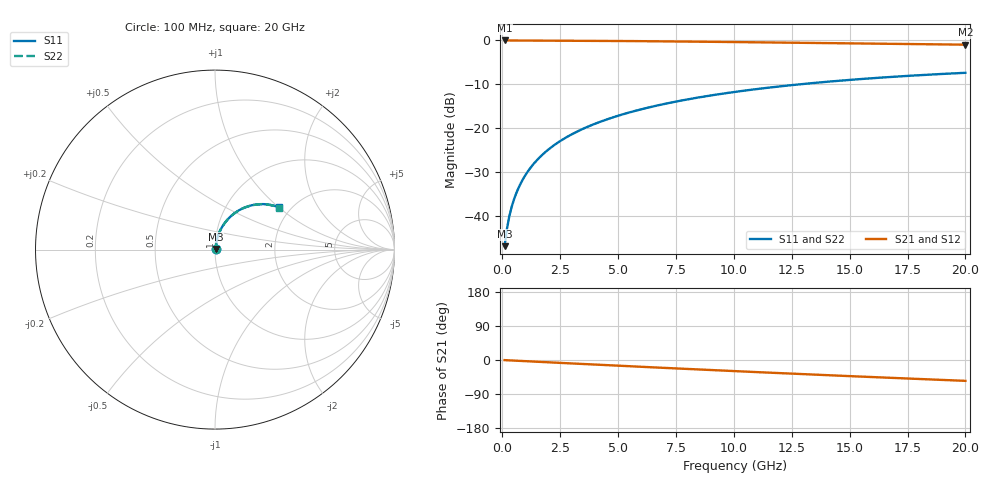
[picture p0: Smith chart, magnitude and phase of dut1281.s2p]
! Touchstone file exported from HFSS 2026.1.0
!  File:  C:/ffzhzh/LocalFiles/Ansys_Project_Files/temp_train_TMRDL_1281_1783164364_18472.aedt
!  Generated:  07:27:33 PM Jul  4, 2026
!  Design:  TMRDL
!  Project:  temp_train_TMRDL_1281_1783164364_18472
! Variables:
!  h_bsmrdl = 2um
!  h_ox = 20um
!  h_rdl = 5um
!  h_sub = 80um
!  h_tmrdl = 4.16um
!  h_tsv = 80um
!  h_via = 3um
!  l_bsmrdl = 300um
!  l_sub = 1266.35um
!  l_tmrdl = 866.35um
!  m_sub = 200um
!  pitch = 50.55um
!  r_tsv = 6um
!  s_tmrdl = 10um
!  w_bsmrdl = 18um
!  w_sub = 500um
!  w_tmrdl = 25.04um
!  x_tsv_center1 = 878.87um
!  x_tsv_center2 = 1196.87um
!  x_tsv_center3 = 2088.26um
!  x_tsv_center4 = 2406.26um
!  x_tsv_center5 = 3297.65um
!  x_tsv_center6 = 3615.65um
# GHz S MA R 50.000000
! Terminal data exported
! Port[1] = TM_RDL1_1_T1
! Port[2] = TM_RDL1_1_T2
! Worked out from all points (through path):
!   200 points, 100 MHz to 20 GHz, reference 50 ohm
!   highest |S21| = -0.03 dB at 100 MHz (marker M1); lowest = -1.0 dB at 20 GHz (marker M2)
!   group delay of S21, straight-line fit = 7.64 ps
!   lowest |S11| = -47.0 dB at 100 MHz (marker M3), VSWR 1.01, Z = 50.3 + j0.318 ohm
!   |S11| at or under -10 dB: start of sweep to 12.91 GHz
!   |S22| runs from -47.0 to -7.4 dB; largest |S21 - S12| = 1.5e-14
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0.1  0.004484 44.8  0.9968 -0.3  0.9968 -0.3  0.004484 44.8
! Gamma 0 0 0 0
! Port Impedance 50 0 50 0
0.2  0.007056 60.6  0.9966 -0.6  0.9966 -0.6  0.007056 60.6
0.3  0.009747 67.4  0.9964 -0.9  0.9964 -0.9  0.009747 67.4
0.4  0.01245 71.3  0.9962 -1.2  0.9962 -1.2  0.01245 71.3
0.5  0.01518 73.8  0.996 -1.6  0.996 -1.6  0.01518 73.8
0.6  0.01793 75.5  0.9959 -1.9  0.9959 -1.9  0.01793 75.5
0.8  0.02347 77.6  0.9957 -2.5  0.9957 -2.5  0.02347 77.6
1.1  0.03185 79.1  0.9953 -3.4  0.9953 -3.4  0.03185 79.1
1.5  0.04306 79.6  0.9947 -4.6  0.9947 -4.6  0.04306 79.6
1.8  0.05146 79.4  0.9941 -5.5  0.9941 -5.5  0.05146 79.4
2.1  0.05983 79.0  0.9935 -6.4  0.9935 -6.4  0.05983 79.0
2.7  0.07644 77.9  0.9919 -8.2  0.9919 -8.2  0.07644 77.9
3.5  0.09825 76.0  0.9893 -10.6  0.9893 -10.6  0.09825 76.0
4.2  0.117 74.2  0.9867 -12.7  0.9867 -12.7  0.117 74.1
5  0.1379 72.0  0.9833 -15.0  0.9833 -15.0  0.1379 72.0
5.9  0.1609 69.6  0.9791 -17.6  0.9791 -17.6  0.1609 69.5
6.8  0.1832 67.1  0.9746 -20.2  0.9746 -20.2  0.1832 67.1
8.3  0.2189 63.1  0.9663 -24.5  0.9663 -24.5  0.2189 63.0
10.1  0.2592 58.3  0.9555 -29.5  0.9555 -29.5  0.2592 58.2
13.4  0.3253 49.7  0.9342 -38.4  0.9342 -38.4  0.3254 49.6
16.7  0.381 41.5  0.9126 -46.9  0.9126 -46.9  0.3811 41.3
20  0.4262 33.6  0.8924 -55.0  0.8924 -55.0  0.4262 33.3
